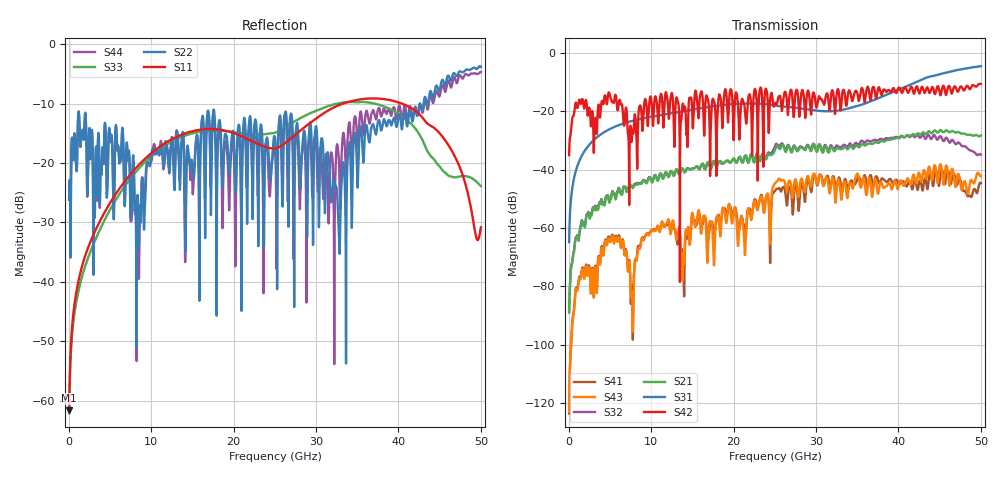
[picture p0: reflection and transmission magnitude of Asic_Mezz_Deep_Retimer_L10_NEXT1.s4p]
! Created Wed Jul  3 15:49:59 2019
# hz S ma R 50
! 4 Port Network Data from SP1.SP block
! freq  magS11  angS11  magS12  angS12  magS13  angS13  magS14  angS14
!  magS21  angS21  magS22  angS22  magS23  angS23  magS24  angS24
!  magS31  angS31  magS32  angS32  magS33  angS33  magS34  angS34
!  magS41  angS41  magS42  angS42  magS43  angS43  magS44  angS44
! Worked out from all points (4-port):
!   4996 points, 50 MHz to 50 GHz, reference 50 ohm
!   strongest paths, dB at 50 MHz, 12.54 GHz, 25.03 GHz, 37.52 GHz, 50 GHz:
!     S42: -35.0, -13.8, -17.5, -12.4, -10.6
!     S31: -64.8, -20.6, -18.0, -15.5, -4.5
!     S21: -88.9, -40.6, -33.2, -30.8, -28.2
!     S32: -88.5, -40.8, -31.9, -29.9, -34.9
!     S43: -122.9, -58.2, -44.6, -48.2, -42.3
!     S41: -123.5, -59.0, -47.3, -43.6, -44.6
!   lowest |S11| = -61.6 dB at 50 MHz (marker M1), VSWR 1.00, Z = 50.1 + j0.0621 ohm
!   |S11| at or under -10 dB: start of sweep to 33.28 GHz; 40.4 GHz to end of sweep
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5e7  0.0008341 48.1  3.573e-05 86.4  0.000575 86.1  6.695e-07 139.1
     3.573e-05 86.4  0.04921 -87.8  3.751e-05 86.3  0.01774 52.6
     0.000575 86.1  3.751e-05 86.3  0.0007841 44.0  7.166e-07 131.1
     6.695e-07 139.1  0.01774 52.6  7.166e-07 131.1  0.04932 -87.9
2.79e9  0.02309 70.4  0.00167 57.5  0.02982 69.2  0.0001629 -170.6
        0.00167 57.5  0.1868 80.4  0.001792 59.4  0.08946 76.3
        0.02982 69.2  0.001792 59.4  0.01911 74.3  0.0001508 -173.7
        0.0001629 -170.6  0.08946 76.3  0.0001508 -173.7  0.1813 79.6
8.41e9  0.09484 35.3  0.005743 -26.8  0.07266 34.2  0.0004854 -6.1
        0.005743 -26.8  0.0434 -55.6  0.005933 -20.7  0.0609 155.3
        0.07266 34.2  0.005933 -20.7  0.08841 41.9  0.0004323 -9.4
        0.0004854 -6.1  0.0609 155.3  0.0004323 -9.4  0.03933 -74.6
1.379e10  0.1742 -13.6  0.01057 -106.4  0.1001 9.3  0.0003515 -40.3
          0.01057 -106.4  0.1747 40.8  0.01051 -99.0  0.1255 61.2
          0.1001 9.3  0.01051 -99.0  0.1667 -7.1  0.0001445 -53.2
          0.0003515 -40.3  0.1255 61.2  0.0001445 -53.2  0.1755 44.6
1.512e10  0.186 -25.4  0.01047 -125.5  0.1081 2.4  0.001443 33.5
          0.01047 -125.5  0.07599 11.3  0.01048 -115.2  0.07503 132.7
          0.1081 2.4  0.01048 -115.2  0.1786 -18.4  0.00148 30.7
          0.001443 33.5  0.07503 132.7  0.00148 30.7  0.06549 28.9
3.28e10  0.3071 -72.3  0.02303 -43.7  0.1042 165.5  0.007385 -138.8
         0.02303 -43.7  0.02235 -54.9  0.02458 -18.9  0.1955 -55.4
         0.1042 165.5  0.02458 -18.9  0.3184 -84.2  0.006393 -111.7
         0.007385 -138.8  0.1955 -55.4  0.006393 -111.7  0.09428 -26.5
5e10  0.02879 55.5  0.03875 17.0  0.596 -48.2  0.005914 -13.6
      0.03875 17.0  0.644 -81.5  0.01809 11.0  0.2952 179.1
      0.596 -48.2  0.01809 11.0  0.06394 -85.6  0.007683 64.3
      0.005914 -13.6  0.2952 179.1  0.007683 64.3  0.5821 -86.9
